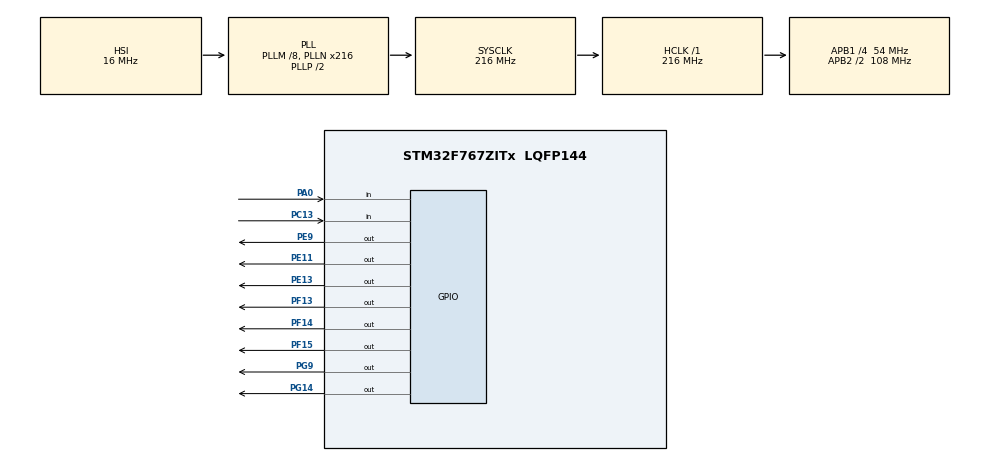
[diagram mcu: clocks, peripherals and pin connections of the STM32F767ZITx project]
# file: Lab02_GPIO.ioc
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Mcu.Family=STM32F7
Mcu.Name=STM32F767ZITx
Mcu.Package=LQFP144
NVIC.PriorityGroup=NVIC_PRIORITYGROUP_4
PA0/WKUP.Signal=GPIO_Input
PC13.Signal=GPIO_Input
PE11.Signal=GPIO_Output
PE13.Signal=GPIO_Output
PE9.Signal=GPIO_Output
PF13.Signal=GPIO_Output
PF14.Signal=GPIO_Output
PF15.Signal=GPIO_Output
PG14.Signal=GPIO_Output
PG9.Signal=GPIO_Output
ProjectManager.HeapSize=0x200
ProjectManager.StackSize=0x400
ProjectManager.TargetToolchain=STM32CubeIDE
RCC.AHBFreq_Value=216000000
RCC.APB1CLKDivider=RCC_HCLK_DIV4
RCC.APB1Freq_Value=54000000
RCC.APB1TimFreq_Value=108000000
RCC.APB2CLKDivider=RCC_HCLK_DIV2
RCC.APB2Freq_Value=108000000
RCC.APB2TimFreq_Value=216000000
RCC.CortexFreq_Value=216000000
RCC.HCLKFreq_Value=216000000
RCC.HSE_VALUE=25000000
RCC.HSI_VALUE=16000000
RCC.LSE_VALUE=32768
RCC.PLLM=8
RCC.PLLN=216
RCC.SYSCLKFreq_VALUE=216000000
RCC.SYSCLKSource=RCC_SYSCLKSOURCE_PLLCLK
RCC.USBFreq_Value=216000000
RCC.VCOOutputFreq_Value=432000000
board=custom

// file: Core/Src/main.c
/* USER CODE BEGIN Header */
/**
  ******************************************************************************
  * @file           : main.c
  * @brief          : Main program body
  ******************************************************************************
  * @attention
  *
  * Copyright (c) 2023 STMicroelectronics.
  * All rights reserved.
  *
  * This software is licensed under terms that can be found in the LICENSE file
  * in the root directory of this software component.
  * If no LICENSE file comes with this software, it is provided AS-IS.
  *
  ******************************************************************************
  */
/* USER CODE END Header */
#include "main.h"
#include "gpio.h"

/* USER CODE BEGIN PV */

uint8_t count=-1;
uint8_t present;
uint8_t temp;

const pin[10]={GPIOF,GPIOE,GPIOE,GPIOF,GPIOE,GPIOF,GPIOG,GPIOG};
uint16_t LED[10]={GPIO_PIN_13,GPIO_PIN_9,GPIO_PIN_11,GPIO_PIN_14,GPIO_PIN_13,GPIO_PIN_15,GPIO_PIN_14,GPIO_PIN_9};

/* USER CODE END PV */

void SystemClock_Config(void);

int main(void)
{

  /* MCU Configuration--------------------------------------------------------*/

  /* Reset of all peripherals, Initializes the Flash interface and the Systick. */
  HAL_Init();

  /* Configure the system clock */
  SystemClock_Config();

  /* Initialize all configured peripherals */
  MX_GPIO_Init();

  /* Infinite loop */
  while (1)
  {

    /* USER CODE BEGIN 3 */

	if(HAL_GPIO_ReadPin(GPIOC, GPIO_PIN_13) == GPIO_PIN_SET)
	{
		if(count>=0 && count<=8)
		{
			HAL_GPIO_WritePin(pin[count], LED[count], GPIO_PIN_RESET);
		}
		count+=1;
		if(count==8){
			count=0;
		}
		HAL_GPIO_WritePin(pin[count], LED[count], GPIO_PIN_SET);
		HAL_Delay(300);
	}

	if(HAL_GPIO_ReadPin(GPIOA, GPIO_PIN_0) == GPIO_PIN_RESET)
	{
		if(count>=0 && count<8){
			HAL_GPIO_WritePin(pin[count], LED[count], GPIO_PIN_RESET);
			for(uint8_t i=0 ; i<=count-1 ; i++){
				HAL_GPIO_WritePin(pin[count-i-1], LED[count-i-1], GPIO_PIN_SET);
				HAL_Delay(500);
				HAL_GPIO_WritePin(pin[count-i-1], LED[count-i-1], GPIO_PIN_RESET);
			}
			for(uint8_t i=0 ; i<7-count+1 ; i++){
				if(i==7-count){
					HAL_GPIO_WritePin(pin[7-i], LED[7-i], GPIO_PIN_SET);
				}
				else{
					HAL_GPIO_WritePin(pin[7-i], LED[7-i], GPIO_PIN_SET);
					HAL_Delay(500);
					HAL_GPIO_WritePin(pin[7-i], LED[7-i], GPIO_PIN_RESET);
				}
			}
			count-=1;
		}
		else{
			for(uint8_t i=0 ; i<8 ; i++){

				HAL_GPIO_WritePin(pin[7-i], LED[7-i], GPIO_PIN_SET);
				HAL_Delay(500);
				HAL_GPIO_WritePin(pin[7-i], LED[7-i], GPIO_PIN_RESET);
			}
		}
	 }
  }

  /* USER CODE END 3 */
}

void SystemClock_Config(void)
{
  RCC_OscInitTypeDef RCC_OscInitStruct = {0};
  RCC_ClkInitTypeDef RCC_ClkInitStruct = {0};

  /** Configure the main internal regulator output voltage
  */
  __HAL_RCC_PWR_CLK_ENABLE();
  __HAL_PWR_VOLTAGESCALING_CONFIG(PWR_REGULATOR_VOLTAGE_SCALE1);

  /** Initializes the RCC Oscillators according to the specified parameters
  * in the RCC_OscInitTypeDef structure.
  */
  RCC_OscInitStruct.OscillatorType = RCC_OSCILLATORTYPE_HSI;
  RCC_OscInitStruct.HSIState = RCC_HSI_ON;
  RCC_OscInitStruct.HSICalibrationValue = RCC_HSICALIBRATION_DEFAULT;
  RCC_OscInitStruct.PLL.PLLState = RCC_PLL_ON;
  RCC_OscInitStruct.PLL.PLLSource = RCC_PLLSOURCE_HSI;
  RCC_OscInitStruct.PLL.PLLM = 8;
  RCC_OscInitStruct.PLL.PLLN = 216;
  RCC_OscInitStruct.PLL.PLLP = RCC_PLLP_DIV2;
  RCC_OscInitStruct.PLL.PLLQ = 2;
  RCC_OscInitStruct.PLL.PLLR = 2;
  if (HAL_RCC_OscConfig(&RCC_OscInitStruct) != HAL_OK)
  {
    Error_Handler();
  }

  /** Activate the Over-Drive mode
  */
  if (HAL_PWREx_EnableOverDrive() != HAL_OK)
  {
    Error_Handler();
  }

  /** Initializes the CPU, AHB and APB buses clocks
  */
  RCC_ClkInitStruct.ClockType = RCC_CLOCKTYPE_HCLK|RCC_CLOCKTYPE_SYSCLK
                              |RCC_CLOCKTYPE_PCLK1|RCC_CLOCKTYPE_PCLK2;
  RCC_ClkInitStruct.SYSCLKSource = RCC_SYSCLKSOURCE_PLLCLK;
  RCC_ClkInitStruct.AHBCLKDivider = RCC_SYSCLK_DIV1;
  RCC_ClkInitStruct.APB1CLKDivider = RCC_HCLK_DIV4;
  RCC_ClkInitStruct.APB2CLKDivider = RCC_HCLK_DIV2;

  if (HAL_RCC_ClockConfig(&RCC_ClkInitStruct, FLASH_LATENCY_7) != HAL_OK)
  {
    Error_Handler();
  }
}

void Error_Handler(void)
{
  __disable_irq();
  while (1)
  {
  }
}
